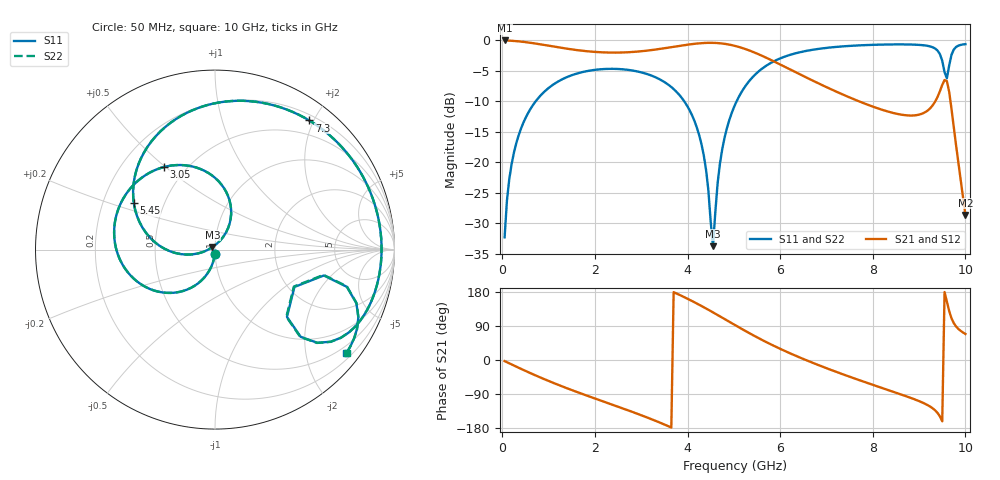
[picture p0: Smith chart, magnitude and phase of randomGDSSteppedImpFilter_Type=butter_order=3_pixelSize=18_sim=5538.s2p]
! freq	dB(S11)	phase(S11)	dB(S12)	phase(S12)
!  dB(S21)	phase(S21)	dB(S22)	phase(S22)
!S-par simulation data
#  GHz  S  DB  R 50
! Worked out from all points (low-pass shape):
!   200 points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, 50 MHz to 10 GHz, reference 50 ohm
!   highest |S21| = 0.00 dB at 50 MHz (marker M1); lowest = -28.6 dB at 10 GHz (marker M2)
!   |S21| within 3 dB of the highest: start of sweep to 5.747 GHz
!   lowest |S11| = -33.7 dB at 4.55 GHz (marker M3), VSWR 1.04, Z = 48.6 + j1.42 ohm
!   |S11| at or under -10 dB: start of sweep to 719.9 MHz; 3.93 GHz to 5.059 GHz (1.129 GHz wide, 25.1 % of centre)
!   |S22| runs from -33.7 to -0.6 dB; largest |S21 - S12| = 0
!   S11 on the Smith chart (normalised r, x): 50 MHz: 1.00, -0.05; 3.05 GHz: 0.38, +0.49; 5.45 GHz: 0.34, +0.24; 7.3 GHz: 0.28, +1.94; 10 GHz: 0.33, -2.85
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0.05  -32.28 -93.0  -0.00 -2.9  -0.00 -2.9  -32.28 -93.0
0.2  -20.32 -102.1  -0.06 -11.7  -0.06 -11.7  -20.32 -102.1
0.5  -12.75 -119.3  -0.28 -28.8  -0.28 -28.8  -12.75 -119.3
1.1  -7.24 -150.9  -0.99 -60.3  -0.99 -60.3  -7.23 -150.9
1.75  -5.15 178.9  -1.71 -90.6  -1.71 -90.6  -5.15 178.8
3.05  -5.33 121.9  -1.74 -148.0  -1.74 -148.0  -5.33 121.9
3.4  -6.38 105.2  -1.40 -165.1  -1.40 -165.1  -6.38 105.2
4.2  -14.25 63.2  -0.51 149.2  -0.51 149.2  -14.25 63.1
4.4  -21.21 57.1  -0.40 136.0  -0.40 136.0  -21.21 57.1
4.55  -33.73 134.7  -0.40 125.7  -0.40 125.7  -33.74 134.7
4.75  -17.81 -168.1  -0.51 111.7  -0.51 111.7  -17.81 -168.1
5.05  -10.13 175.9  -0.94 90.4  -0.94 90.4  -10.13 175.9
5.45  -5.68 150.3  -1.99 63.2  -1.99 63.2  -5.68 150.3
6  -2.95 117.7  -3.94 29.5  -3.94 29.5  -2.94 117.6
6.7  -1.53 81.5  -6.58 -7.3  -6.58 -7.3  -1.53 81.5
7.3  -1.01 53.9  -8.69 -35.3  -8.69 -35.3  -1.00 53.9
8.35  -0.66 9.9  -11.71 -80.0  -11.71 -80.0  -0.66 9.9
9  -0.73 -16.8  -12.16 -108.5  -12.16 -108.5  -0.73 -16.9
9.4  -1.67 -38.5  -9.24 -139.9  -9.24 -139.9  -1.68 -38.6
9.6  -6.21 -25.2  -6.67 154.3  -6.67 154.3  -6.28 -25.1
9.75  -1.49 -20.8  -14.28 97.2  -14.28 97.2  -1.49 -20.6
10  -0.61 -38.2  -28.62 68.6  -28.62 68.6  -0.61 -38.1
